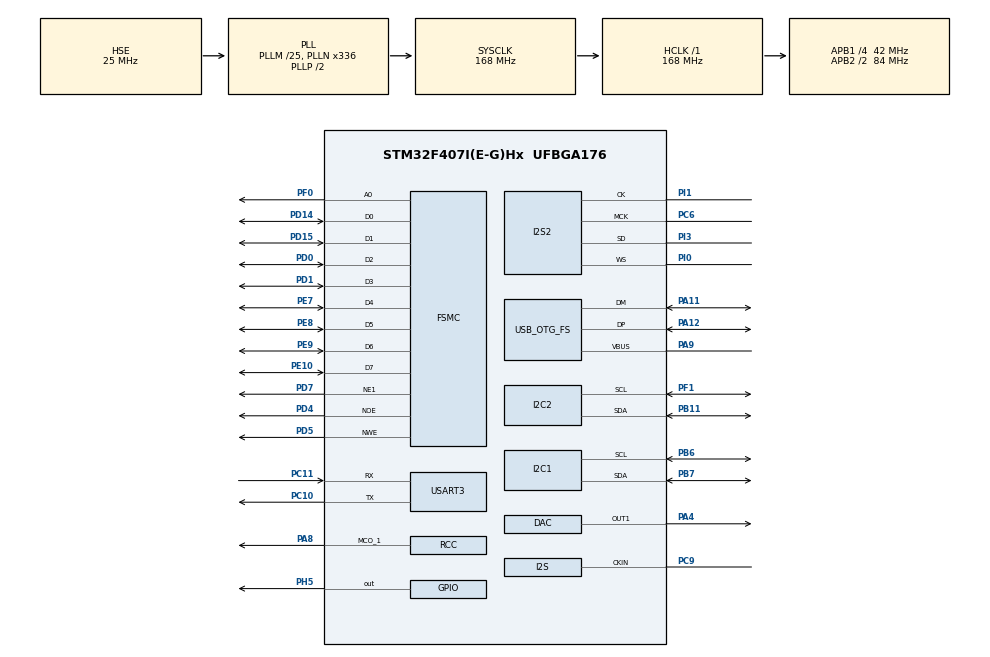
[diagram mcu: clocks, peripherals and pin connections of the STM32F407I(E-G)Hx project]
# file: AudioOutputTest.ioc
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Dma.Request0=SPI2_TX
Dma.SPI2_TX.0.Direction=DMA_MEMORY_TO_PERIPH
Dma.SPI2_TX.0.FIFOMode=DMA_FIFOMODE_ENABLE
Dma.SPI2_TX.0.FIFOThreshold=DMA_FIFO_THRESHOLD_FULL
Dma.SPI2_TX.0.Instance=DMA1_Stream4
Dma.SPI2_TX.0.MemBurst=DMA_MBURST_SINGLE
Dma.SPI2_TX.0.MemDataAlignment=DMA_MDATAALIGN_HALFWORD
Dma.SPI2_TX.0.MemInc=DMA_MINC_ENABLE
Dma.SPI2_TX.0.Mode=DMA_CIRCULAR
Dma.SPI2_TX.0.PeriphBurst=DMA_PBURST_SINGLE
Dma.SPI2_TX.0.PeriphDataAlignment=DMA_PDATAALIGN_HALFWORD
Dma.SPI2_TX.0.PeriphInc=DMA_PINC_DISABLE
Dma.SPI2_TX.0.Priority=DMA_PRIORITY_LOW
I2S2.AudioFreq=I2S_AUDIOFREQ_48K
I2S2.ErrorAudioFreq=1.72 %
I2S2.FullDuplexMode=I2S_FULLDUPLEXMODE_DISABLE
I2S2.Instance=SPI$Index
I2S2.RealAudioFreq=48.828 KHz
I2S2.VirtualMode=I2S_MODE_MASTER
Mcu.Family=STM32F4
Mcu.Name=STM32F407I(E-G)Hx
Mcu.Package=UFBGA176
NVIC.DMA1_Stream4_IRQn=true\:0\:0\:false\:false\:true\:false\:true\:true
NVIC.I2C2_EV_IRQn=true\:0\:0\:false\:false\:true\:true\:true\:true
NVIC.OTG_FS_IRQn=true\:0\:0\:false\:false\:true\:false\:true\:true
NVIC.PriorityGroup=NVIC_PRIORITYGROUP_0
NVIC.TIM1_TRG_COM_TIM11_IRQn=true\:0\:0\:false\:false\:true\:true\:true\:true
NVIC.TIM2_IRQn=true\:0\:0\:false\:false\:true\:true\:true\:true
PA11.Mode=Host_Only
PA11.Signal=USB_OTG_FS_DM
PA12.Mode=Host_Only
PA12.Signal=USB_OTG_FS_DP
PA4.Signal=COMP_DAC1_group
PA8.Mode=Clock-out-1
PA8.Signal=RCC_MCO_1
PA9.Mode=Activate_VBUS
PA9.Signal=USB_OTG_FS_VBUS
PB11.GPIO_Pu=GPIO_PULLUP
PB11.GPIO_Speed=GPIO_SPEED_FREQ_VERY_HIGH
PB11.Mode=I2C
PB11.Signal=I2C2_SDA
PB6.Mode=I2C
PB6.Signal=I2C1_SCL
PB7.Mode=I2C
PB7.Signal=I2C1_SDA
PC10.Mode=Asynchronous
PC10.Signal=USART3_TX
PC11.Mode=Asynchronous
PC11.Signal=USART3_RX
PC14-OSC32_IN.Mode=LSE-External-Oscillator
PC14-OSC32_IN.Signal=RCC_OSC32_IN
PC15-OSC32_OUT.Mode=LSE-External-Oscillator
PC15-OSC32_OUT.Signal=RCC_OSC32_OUT
PC6.Mode=Master_Clock_Activated
PC6.Signal=I2S2_MCK
PC9.Mode=Audio_ClockIn
PC9.Signal=I2S_CKIN
PD0.Signal=FSMC_D2_DA2
PD1.Signal=FSMC_D3_DA3
PD14.Signal=FSMC_D0_DA0
PD15.Signal=FSMC_D1_DA1
PD4.Signal=FSMC_NOE
PD5.Signal=FSMC_NWE
PD7.Mode=NorPsramChipSelect1_1
PD7.Signal=FSMC_NE1
PE10.Signal=FSMC_D7_DA7
PE7.Signal=FSMC_D4_DA4
PE8.Signal=FSMC_D5_DA5
PE9.Signal=FSMC_D6_DA6
PF0.Signal=FSMC_A0
PF1.GPIO_Pu=GPIO_PULLUP
PF1.GPIO_Speed=GPIO_SPEED_FREQ_VERY_HIGH
PF1.Mode=I2C
PF1.Signal=I2C2_SCL
PH0-OSC_IN.Mode=HSE-External-Oscillator
PH0-OSC_IN.Signal=RCC_OSC_IN
PH1-OSC_OUT.Mode=HSE-External-Oscillator
PH1-OSC_OUT.Signal=RCC_OSC_OUT
PH5.Signal=GPIO_Output
PI0.Mode=Half_Duplex_Master
PI0.Signal=I2S2_WS
PI1.Mode=Half_Duplex_Master
PI1.Signal=I2S2_CK
PI3.Mode=Half_Duplex_Master
PI3.Signal=I2S2_SD
ProjectManager.HeapSize=0x200
ProjectManager.StackSize=0x400
ProjectManager.TargetToolchain=MDK-ARM V5.32
RCC.48MHZClocksFreq_Value=48000000
RCC.AHBFreq_Value=168000000
RCC.APB1CLKDivider=RCC_HCLK_DIV4
RCC.APB1Freq_Value=42000000
RCC.APB1TimFreq_Value=84000000
RCC.APB2CLKDivider=RCC_HCLK_DIV2
RCC.APB2Freq_Value=84000000
RCC.APB2TimFreq_Value=168000000
RCC.CortexFreq_Value=168000000
RCC.HCLKFreq_Value=168000000
RCC.HSE_VALUE=25000000
RCC.HSI_VALUE=16000000
RCC.PLLI2SN=150
RCC.PLLI2SR=3
RCC.PLLM=25
RCC.PLLN=336
RCC.PLLQ=7
RCC.RCC_MCO1Source=RCC_MCO1SOURCE_HSE
RCC.SYSCLKFreq_VALUE=168000000
RCC.SYSCLKSource=RCC_SYSCLKSOURCE_PLLCLK
RCC.VCOOutputFreq_Value=336000000
SH.COMP_DAC1_group.0=DAC_OUT1,DAC_OUT1
SH.FSMC_A0.0=FSMC_A0,A0_1
SH.FSMC_D0_DA0.0=FSMC_D0,8b-d1
SH.FSMC_D1_DA1.0=FSMC_D1,8b-d1
SH.FSMC_D2_DA2.0=FSMC_D2,8b-d1
SH.FSMC_D3_DA3.0=FSMC_D3,8b-d1
SH.FSMC_D4_DA4.0=FSMC_D4,8b-d1
SH.FSMC_D5_DA5.0=FSMC_D5,8b-d1
SH.FSMC_D6_DA6.0=FSMC_D6,8b-d1
SH.FSMC_D7_DA7.0=FSMC_D7,8b-d1
SH.FSMC_NOE.0=FSMC_NOE,Lcd1
SH.FSMC_NWE.0=FSMC_NWE,Lcd1
TIM11.Period=840-1
TIM11.Prescaler=100-1
TIM2.Period=20-1
TIM2.Prescaler=84-1
TIM2.TIM_MasterOutputTrigger=TIM_TRGO_UPDATE
USART3.VirtualMode=VM_ASYNC
USB_HOST.BSP.number=1
USB_HOST.USBH_HandleTypeDef-MSC_FS=hUsbHostFS
USB_HOST.VirtualModeFS=Msc
USB_HOST0.BSP.STBoard=false
USB_HOST0.BSP.api=Unknown
USB_HOST0.BSP.condition=SW_VBUS_DRIVE_MSC_FS \= false
USB_HOST0.BSP.instance=PH5
USB_HOST0.BSP.ip=GPIO
USB_HOST0.BSP.mode=Output
USB_HOST0.BSP.name=Drive_VBUS_FS
USB_HOST0.BSP.solution=PH5
USB_OTG_FS.VirtualMode=Host_Only
USB_OTG_FS.phy_itface=HCD_PHY_EMBEDDED
VP_FATFS_VS_USB.Mode=USB
VP_TIM11_VS_ClockSourceINT.Mode=Enable_Timer
VP_TIM2_VS_ClockSourceINT.Mode=Internal
VP_USB_HOST_VS_USB_HOST_MSC_FS.Mode=MSC_FS
board=STM3240G-EVAL

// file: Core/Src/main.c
/* USER CODE BEGIN Header */
/**
  ******************************************************************************
  * @file           : main.c
  * @brief          : Main program body
  ******************************************************************************
  * @attention
  *
  * Copyright (c) 2024 STMicroelectronics.
  * All rights reserved.
  *
  * This software is licensed under terms that can be found in the LICENSE file
  * in the root directory of this software component.
  * If no LICENSE file comes with this software, it is provided AS-IS.
  *
  ******************************************************************************
  */
/* USER CODE END Header */
#include "main.h"
#include "fatfs.h"
#include "usb_host.h"

/* USER CODE BEGIN Includes */
#include <math.h>
#include <stdbool.h>
#include "stm324xg_eval_audio.h"
#include "stm324xg_eval_lcd.h"

//IMU
#include "mpu6050.h"

// CUSTOM
#include "voxart_dev.h"
#include "imu_parser.h"

#include "ChorusTest.h"

/* USER CODE END Includes */

/* USER CODE BEGIN PD */
#define PI 3.14159f
#define NUM_SAMPLES 4096
/* USER CODE END PD */

DAC_HandleTypeDef hdac;

I2C_HandleTypeDef hi2c1;
I2C_HandleTypeDef hi2c2;

I2S_HandleTypeDef hi2s2;
DMA_HandleTypeDef hdma_spi2_tx;

TIM_HandleTypeDef htim2;
TIM_HandleTypeDef htim11;

UART_HandleTypeDef huart3;

SRAM_HandleTypeDef hsram1;

/* USER CODE BEGIN PV */
MPU6050_t MPU6050;
circle c = {50, 150, 120};
imuMovement imu = {0, 0, 0, NO};

//Sample rate and Output freq
//float F_SAMPLE = 48000.0;
//float F_OUT	= 1000.0;

FATFS fatfs;
FIL fil;
FRESULT fresult;

//Samples storage
uint8_t samples[NUM_SAMPLES];

//Wave header file
WAVE_FormatTypeDef WaveFormat;

//State tracking of Audio and USB
extern ApplicationTypeDef Appli_state;
Audio_Playback_State_t AudioState = AUDIO_STATE_IDLE;

//USB AUDIO FILE SIZE STUFF
uint32_t fread_size = 0;
uint32_t rec_size = 0;
uint32_t played_size = 0;

//DMA Thingy
CallBack_Result_t cb_result = UNKNOWN;

/* USER CODE END PV */

void SystemClock_Config(void);
static void MX_GPIO_Init(void);
static void MX_DMA_Init(void);
static void MX_DAC_Init(void);
static void MX_I2S2_Init(void);
static void MX_TIM2_Init(void);
static void MX_TIM11_Init(void);
static void MX_FSMC_Init(void);
static void MX_USART3_UART_Init(void);
static void MX_I2C2_Init(void);
static void MX_I2C1_Init(void);
void MX_USB_HOST_Process(void);

/* USER CODE BEGIN PFP */
void BSP_AUDIO_OUT_HalfTransfer_CallBack(void);
void BSP_AUDIO_OUT_TransferComplete_CallBack(void);
void HAL_I2C_MasterTxCpltCallback(I2C_HandleTypeDef *hi2c);
/* USER CODE END PFP */

/* USER CODE BEGIN 0 */
//WAVE VARIABLES
float mySinVal;
float sample_dt;
uint16_t sample_N;
uint16_t i_t;
uint32_t myDacVal;
int16_t dataI2S[100];
uint8_t who;
/* USER CODE END 0 */

int main(void)
{

  /* USER CODE BEGIN 1 */
//	sample_dt = F_OUT/F_SAMPLE;
//	sample_N = F_SAMPLE/F_OUT;
  /* USER CODE END 1 */

  /* MCU Configuration--------------------------------------------------------*/

  /* Reset of all peripherals, Initializes the Flash interface and the Systick. */
  HAL_Init();

  /* Configure the system clock */
  SystemClock_Config();

  /* Initialize all configured peripherals */
  MX_GPIO_Init();
  MX_DMA_Init();
  MX_DAC_Init();
  MX_I2S2_Init();
  MX_TIM2_Init();
  MX_TIM11_Init();
  MX_FSMC_Init();
  MX_USART3_UART_Init();
  MX_I2C2_Init();
  MX_FATFS_Init();
  MX_USB_HOST_Init();
  MX_I2C1_Init();
  /* USER CODE BEGIN 2 */

	//Init audio
	BSP_AUDIO_OUT_Init(OUTPUT_DEVICE_HEADPHONE, 80, 48000);
	BSP_LED_Init(LED1);
	BSP_LED_Init(LED2);
	BSP_LED_Init(LED3);
	BSP_LED_Init(LED4);

	//Init and enable display
	BSP_LCD_Init();
	BSP_LCD_DisplayOn();
	BSP_LCD_Clear(LCD_COLOR_BLACK);
	//BSP_LCD_SetTextColor(LCD_COLOR_WHITE);

	while (MPU6050_Init(&hi2c2) == 1) {
		HAL_GPIO_TogglePin(LED1_GPIO_PORT, LED1_PIN);
		serialPrintln("[MPU6050] MPU ERROR. RESTART SYSTEM");
		HAL_Delay(1000);
		BSP_LCD_DisplayStringAtLine(3, (uint8_t *)"IMU Error :(");
	};
//	HAL_I2C_Mem_Read(&hi2c2, 0xD0, 0x75, 1, &who, 1, 1000);
	BSP_LED_On(LED4);

	BSP_LCD_FillCircle(c.xPos, c.yPos, c.radius);
	serialPrintln("[Circle] READY");

	if(HAL_TIM_Base_Start_IT(&htim11) == HAL_OK) {
		serialPrintln("[Timer] TIM11 ENABLED");
	} else {
		BSP_LCD_DisplayStringAtLine(3, (uint8_t*)"TIM11 ERROR");
		Error_Handler();
	}

	bool isFinished = false;
  /* USER CODE END 2 */

  /* Infinite loop */
  while (1)
  {
    MX_USB_HOST_Process();

    /* USER CODE BEGIN 3 */

		if(Appli_state == APPLICATION_READY) {
			//Mount USB and open file
			fresult = f_mount(&USBHFatFS, USBHPath, 1);
			f_open(&fil, "faded.wav", FA_READ);
			BSP_LED_On(LED1);

			//Get wav header data
			f_read(&fil, &WaveFormat, sizeof(WaveFormat), &fread_size);
			f_lseek(&fil, 0);

			//Fill buffer fully and play first time
			if(f_read(&fil, &samples[0], NUM_SAMPLES,(void*)&fread_size) == FR_OK) {
				AudioState = AUDIO_STATE_PLAY;
				if(fread_size != 0) {
					BSP_AUDIO_OUT_Play((uint16_t*)&samples[0], NUM_SAMPLES);
					played_size = fread_size;
				}
			} else {
				while(1) {
					HAL_Delay(500);
					BSP_LED_Toggle(LED2);
				}
			}
			while(!isFinished) {
				//Fill buffers when song isnt playing specific half's
				if(AudioState == AUDIO_STATE_PLAY) {
					if(played_size >= WaveFormat.FileSize) {
						BSP_AUDIO_OUT_Stop(CODEC_PDWN_SW);
						AudioState = AUDIO_STATE_STOP;
					}

					if(cb_result == HALF_COMPLETED) {
						if(f_read(&fil, &samples[0], NUM_SAMPLES/2,(void*)&fread_size) != FR_OK) {
							BSP_LED_On(LED2);
						}
						cb_result = UNKNOWN;
						played_size += fread_size;
					}

					if(cb_result == FULL_COMPLETED) {
						if(f_read(&fil, &samples[NUM_SAMPLES/2], NUM_SAMPLES/2,(void*)&fread_size) != FR_OK) {
							BSP_LED_On(LED2);
						}
						chorusEffect();
						cb_result = UNKNOWN;
						played_size += fread_size;
					}
				}
				if(AudioState == AUDIO_STATE_STOP) {
					BSP_AUDIO_OUT_Stop(CODEC_PDWN_SW);
					isFinished = true;
				}
		}
	}
}
  /* USER CODE END 3 */
}

void SystemClock_Config(void)
{
  RCC_OscInitTypeDef RCC_OscInitStruct = {0};
  RCC_ClkInitTypeDef RCC_ClkInitStruct = {0};

  /** Configure the main internal regulator output voltage
  */
  __HAL_RCC_PWR_CLK_ENABLE();
  __HAL_PWR_VOLTAGESCALING_CONFIG(PWR_REGULATOR_VOLTAGE_SCALE1);

  /** Initializes the RCC Oscillators according to the specified parameters
  * in the RCC_OscInitTypeDef structure.
  */
  RCC_OscInitStruct.OscillatorType = RCC_OSCILLATORTYPE_HSE;
  RCC_OscInitStruct.HSEState = RCC_HSE_ON;
  RCC_OscInitStruct.PLL.PLLState = RCC_PLL_ON;
  RCC_OscInitStruct.PLL.PLLSource = RCC_PLLSOURCE_HSE;
  RCC_OscInitStruct.PLL.PLLM = 25;
  RCC_OscInitStruct.PLL.PLLN = 336;
  RCC_OscInitStruct.PLL.PLLP = RCC_PLLP_DIV2;
  RCC_OscInitStruct.PLL.PLLQ = 7;
  if (HAL_RCC_OscConfig(&RCC_OscInitStruct) != HAL_OK)
  {
    Error_Handler();
  }

  /** Initializes the CPU, AHB and APB buses clocks
  */
  RCC_ClkInitStruct.ClockType = RCC_CLOCKTYPE_HCLK|RCC_CLOCKTYPE_SYSCLK
                              |RCC_CLOCKTYPE_PCLK1|RCC_CLOCKTYPE_PCLK2;
  RCC_ClkInitStruct.SYSCLKSource = RCC_SYSCLKSOURCE_PLLCLK;
  RCC_ClkInitStruct.AHBCLKDivider = RCC_SYSCLK_DIV1;
  RCC_ClkInitStruct.APB1CLKDivider = RCC_HCLK_DIV4;
  RCC_ClkInitStruct.APB2CLKDivider = RCC_HCLK_DIV2;

  if (HAL_RCC_ClockConfig(&RCC_ClkInitStruct, FLASH_LATENCY_5) != HAL_OK)
  {
    Error_Handler();
  }
  HAL_RCC_MCOConfig(RCC_MCO1, RCC_MCO1SOURCE_HSE, RCC_MCODIV_1);
}

static void MX_DAC_Init(void)
{

  DAC_ChannelConfTypeDef sConfig = {0};

  /** DAC Initialization
  */
  hdac.Instance = DAC;
  if (HAL_DAC_Init(&hdac) != HAL_OK)
  {
    Error_Handler();
  }

  /** DAC channel OUT1 config
  */
  sConfig.DAC_Trigger = DAC_TRIGGER_NONE;
  sConfig.DAC_OutputBuffer = DAC_OUTPUTBUFFER_ENABLE;
  if (HAL_DAC_ConfigChannel(&hdac, &sConfig, DAC_CHANNEL_1) != HAL_OK)
  {
    Error_Handler();
  }

}

static void MX_I2C1_Init(void)
{

  hi2c1.Instance = I2C1;
  hi2c1.Init.ClockSpeed = 100000;
  hi2c1.Init.DutyCycle = I2C_DUTYCYCLE_2;
  hi2c1.Init.OwnAddress1 = 0;
  hi2c1.Init.AddressingMode = I2C_ADDRESSINGMODE_7BIT;
  hi2c1.Init.DualAddressMode = I2C_DUALADDRESS_DISABLE;
  hi2c1.Init.OwnAddress2 = 0;
  hi2c1.Init.GeneralCallMode = I2C_GENERALCALL_DISABLE;
  hi2c1.Init.NoStretchMode = I2C_NOSTRETCH_DISABLE;
  if (HAL_I2C_Init(&hi2c1) != HAL_OK)
  {
    Error_Handler();
  }

}

static void MX_I2C2_Init(void)
{

  hi2c2.Instance = I2C2;
  hi2c2.Init.ClockSpeed = 100000;
  hi2c2.Init.DutyCycle = I2C_DUTYCYCLE_2;
  hi2c2.Init.OwnAddress1 = 0;
  hi2c2.Init.AddressingMode = I2C_ADDRESSINGMODE_7BIT;
  hi2c2.Init.DualAddressMode = I2C_DUALADDRESS_DISABLE;
  hi2c2.Init.OwnAddress2 = 0;
  hi2c2.Init.GeneralCallMode = I2C_GENERALCALL_DISABLE;
  hi2c2.Init.NoStretchMode = I2C_NOSTRETCH_DISABLE;
  if (HAL_I2C_Init(&hi2c2) != HAL_OK)
  {
    Error_Handler();
  }

}

static void MX_I2S2_Init(void)
{

  hi2s2.Instance = SPI2;
  hi2s2.Init.Mode = I2S_MODE_MASTER_TX;
  hi2s2.Init.Standard = I2S_STANDARD_PHILIPS;
  hi2s2.Init.DataFormat = I2S_DATAFORMAT_16B;
  hi2s2.Init.MCLKOutput = I2S_MCLKOUTPUT_ENABLE;
  hi2s2.Init.AudioFreq = I2S_AUDIOFREQ_48K;
  hi2s2.Init.CPOL = I2S_CPOL_LOW;
  hi2s2.Init.ClockSource = I2S_CLOCK_PLL;
  hi2s2.Init.FullDuplexMode = I2S_FULLDUPLEXMODE_DISABLE;
  if (HAL_I2S_Init(&hi2s2) != HAL_OK)
  {
    Error_Handler();
  }

}

static void MX_TIM2_Init(void)
{

  TIM_ClockConfigTypeDef sClockSourceConfig = {0};
  TIM_MasterConfigTypeDef sMasterConfig = {0};

  htim2.Instance = TIM2;
  htim2.Init.Prescaler = 84-1;
  htim2.Init.CounterMode = TIM_COUNTERMODE_UP;
  htim2.Init.Period = 20-1;
  htim2.Init.ClockDivision = TIM_CLOCKDIVISION_DIV1;
  htim2.Init.AutoReloadPreload = TIM_AUTORELOAD_PRELOAD_DISABLE;
  if (HAL_TIM_Base_Init(&htim2) != HAL_OK)
  {
    Error_Handler();
  }
  sClockSourceConfig.ClockSource = TIM_CLOCKSOURCE_INTERNAL;
  if (HAL_TIM_ConfigClockSource(&htim2, &sClockSourceConfig) != HAL_OK)
  {
    Error_Handler();
  }
  sMasterConfig.MasterOutputTrigger = TIM_TRGO_UPDATE;
  sMasterConfig.MasterSlaveMode = TIM_MASTERSLAVEMODE_DISABLE;
  if (HAL_TIMEx_MasterConfigSynchronization(&htim2, &sMasterConfig) != HAL_OK)
  {
    Error_Handler();
  }

}

static void MX_TIM11_Init(void)
{

  htim11.Instance = TIM11;
  htim11.Init.Prescaler = 100-1;
  htim11.Init.CounterMode = TIM_COUNTERMODE_UP;
  htim11.Init.Period = 840-1;
  htim11.Init.ClockDivision = TIM_CLOCKDIVISION_DIV1;
  htim11.Init.AutoReloadPreload = TIM_AUTORELOAD_PRELOAD_DISABLE;
  if (HAL_TIM_Base_Init(&htim11) != HAL_OK)
  {
    Error_Handler();
  }

}

static void MX_USART3_UART_Init(void)
{

  huart3.Instance = USART3;
  huart3.Init.BaudRate = 115200;
  huart3.Init.WordLength = UART_WORDLENGTH_8B;
  huart3.Init.StopBits = UART_STOPBITS_1;
  huart3.Init.Parity = UART_PARITY_NONE;
  huart3.Init.Mode = UART_MODE_TX_RX;
  huart3.Init.HwFlowCtl = UART_HWCONTROL_NONE;
  huart3.Init.OverSampling = UART_OVERSAMPLING_16;
  if (HAL_UART_Init(&huart3) != HAL_OK)
  {
    Error_Handler();
  }

}

static void MX_DMA_Init(void)
{

  /* DMA controller clock enable */
  __HAL_RCC_DMA1_CLK_ENABLE();

  /* DMA interrupt init */
  /* DMA1_Stream4_IRQn interrupt configuration */
  HAL_NVIC_SetPriority(DMA1_Stream4_IRQn, 0, 0);
  HAL_NVIC_EnableIRQ(DMA1_Stream4_IRQn);

}

static void MX_GPIO_Init(void)
{
  GPIO_InitTypeDef GPIO_InitStruct = {0};

  /* GPIO Ports Clock Enable */
  __HAL_RCC_GPIOD_CLK_ENABLE();
  __HAL_RCC_GPIOB_CLK_ENABLE();
  __HAL_RCC_GPIOC_CLK_ENABLE();
  __HAL_RCC_GPIOA_CLK_ENABLE();
  __HAL_RCC_GPIOI_CLK_ENABLE();
  __HAL_RCC_GPIOF_CLK_ENABLE();
  __HAL_RCC_GPIOH_CLK_ENABLE();
  __HAL_RCC_GPIOE_CLK_ENABLE();

  /*Configure GPIO pin Output Level */
  HAL_GPIO_WritePin(GPIOH, GPIO_PIN_5, GPIO_PIN_RESET);

  /*Configure GPIO pin : PC9 */
  GPIO_InitStruct.Pin = GPIO_PIN_9;
  GPIO_InitStruct.Mode = GPIO_MODE_AF_PP;
  GPIO_InitStruct.Pull = GPIO_NOPULL;
  GPIO_InitStruct.Speed = GPIO_SPEED_FREQ_LOW;
  GPIO_InitStruct.Alternate = GPIO_AF5_SPI1;
  HAL_GPIO_Init(GPIOC, &GPIO_InitStruct);

  /*Configure GPIO pin : PA8 */
  GPIO_InitStruct.Pin = GPIO_PIN_8;
  GPIO_InitStruct.Mode = GPIO_MODE_AF_PP;
  GPIO_InitStruct.Pull = GPIO_NOPULL;
  GPIO_InitStruct.Speed = GPIO_SPEED_FREQ_LOW;
  GPIO_InitStruct.Alternate = GPIO_AF0_MCO;
  HAL_GPIO_Init(GPIOA, &GPIO_InitStruct);

  /*Configure GPIO pin : PH5 */
  GPIO_InitStruct.Pin = GPIO_PIN_5;
  GPIO_InitStruct.Mode = GPIO_MODE_OUTPUT_PP;
  GPIO_InitStruct.Pull = GPIO_NOPULL;
  GPIO_InitStruct.Speed = GPIO_SPEED_FREQ_LOW;
  HAL_GPIO_Init(GPIOH, &GPIO_InitStruct);

}

/* FSMC initialization function */
static void MX_FSMC_Init(void)
{

  FSMC_NORSRAM_TimingTypeDef Timing = {0};

  /** Perform the SRAM1 memory initialization sequence
  */
  hsram1.Instance = FSMC_NORSRAM_DEVICE;
  hsram1.Extended = FSMC_NORSRAM_EXTENDED_DEVICE;
  /* hsram1.Init */
  hsram1.Init.NSBank = FSMC_NORSRAM_BANK1;
  hsram1.Init.DataAddressMux = FSMC_DATA_ADDRESS_MUX_DISABLE;
  hsram1.Init.MemoryType = FSMC_MEMORY_TYPE_SRAM;
  hsram1.Init.MemoryDataWidth = FSMC_NORSRAM_MEM_BUS_WIDTH_8;
  hsram1.Init.BurstAccessMode = FSMC_BURST_ACCESS_MODE_DISABLE;
  hsram1.Init.WaitSignalPolarity = FSMC_WAIT_SIGNAL_POLARITY_LOW;
  hsram1.Init.WrapMode = FSMC_WRAP_MODE_DISABLE;
  hsram1.Init.WaitSignalActive = FSMC_WAIT_TIMING_BEFORE_WS;
  hsram1.Init.WriteOperation = FSMC_WRITE_OPERATION_ENABLE;
  hsram1.Init.WaitSignal = FSMC_WAIT_SIGNAL_DISABLE;
  hsram1.Init.ExtendedMode = FSMC_EXTENDED_MODE_DISABLE;
  hsram1.Init.AsynchronousWait = FSMC_ASYNCHRONOUS_WAIT_DISABLE;
  hsram1.Init.WriteBurst = FSMC_WRITE_BURST_DISABLE;
  hsram1.Init.PageSize = FSMC_PAGE_SIZE_NONE;
  /* Timing */
  Timing.AddressSetupTime = 15;
  Timing.AddressHoldTime = 15;
  Timing.DataSetupTime = 255;
  Timing.BusTurnAroundDuration = 15;
  Timing.CLKDivision = 16;
  Timing.DataLatency = 17;
  Timing.AccessMode = FSMC_ACCESS_MODE_A;
  /* ExtTiming */

  if (HAL_SRAM_Init(&hsram1, &Timing, NULL) != HAL_OK)
  {
    Error_Handler( );
  }

}

/* USER CODE BEGIN 4 */
void HAL_TIM_PeriodElapsedCallback(TIM_HandleTypeDef *htim) {
	UNUSED(htim);

	if(htim->Instance == TIM2) {
		mySinVal = sinf(i_t * 2 * PI * sample_dt);
		//Convert from float to decimal
		myDacVal = (mySinVal + 1)*127;
		//Output the sample to the STM DAC
		HAL_DAC_SetValue(&hdac, DAC_CHANNEL_1, DAC_ALIGN_8B_R, myDacVal);

		i_t++;
		if(i_t>= sample_N) i_t = 0;
	}
}

void BSP_AUDIO_OUT_HalfTransfer_CallBack() {
	if(AudioState == AUDIO_STATE_PLAY) {
	cb_result = HALF_COMPLETED;
	}
}

void BSP_AUDIO_OUT_TransferComplete_CallBack() {
	if(AudioState == AUDIO_STATE_PLAY) {
	cb_result = FULL_COMPLETED;
	}
}

void HAL_I2C_MasterTxCpltCallback(I2C_HandleTypeDef *hi2c) {
	  uint8_t Rec_Data[14];
    int16_t temp;

    // Read 14 BYTES of data starting from ACCEL_XOUT_H register

    //HAL_I2C_Mem_Read(I2Cx, MPU6050_ADDR, ACCEL_XOUT_H_REG, 1, Rec_Data, 14, i2c_timeout);

    MPU6050.Accel_X_RAW = (int16_t)(Rec_Data[0] << 8 | Rec_Data[1]);
    MPU6050.Accel_Y_RAW = (int16_t)(Rec_Data[2] << 8 | Rec_Data[3]);
    MPU6050.Accel_Z_RAW = (int16_t)(Rec_Data[4] << 8 | Rec_Data[5]);
    temp = (int16_t)(Rec_Data[6] << 8 | Rec_Data[7]);
    MPU6050.Gyro_X_RAW = (int16_t)(Rec_Data[8] << 8 | Rec_Data[9]);
    MPU6050.Gyro_Y_RAW = (int16_t)(Rec_Data[10] << 8 | Rec_Data[11]);
    MPU6050.Gyro_Z_RAW = (int16_t)(Rec_Data[12] << 8 | Rec_Data[13]);

    MPU6050.Ax = MPU6050.Accel_X_RAW / 16384.0;
    MPU6050.Ay = MPU6050.Accel_Y_RAW / 16384.0;
    MPU6050.Az = MPU6050.Accel_Z_RAW / 14418.0;;
    MPU6050.Temperature = (float)((int16_t)temp / (float)340.0 + (float)36.53);
    MPU6050.Gx = MPU6050.Gyro_X_RAW / 131.0;
    MPU6050.Gy = MPU6050.Gyro_Y_RAW / 131.0;
    MPU6050.Gz = MPU6050.Gyro_Z_RAW / 131.0;
}
/* USER CODE END 4 */

void Error_Handler(void)
{
  __disable_irq();
  while (1)
  {
  }
}
